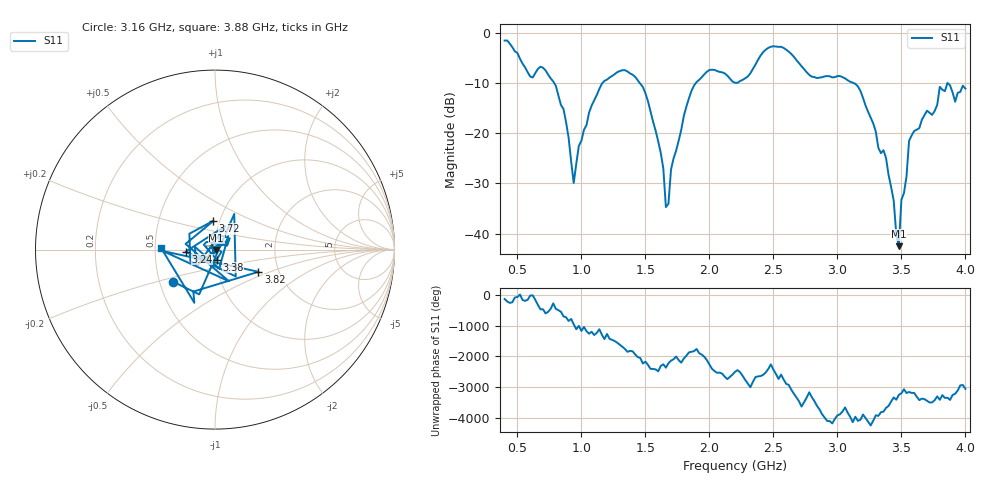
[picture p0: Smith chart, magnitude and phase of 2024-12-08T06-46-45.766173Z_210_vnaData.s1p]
!Created with skrf (http://scikit-rf.org).
# Hz S RI R 50.0
!freq ReS11 ImS11
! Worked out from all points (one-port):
!   181 points, 400 MHz to 4 GHz, reference 50 ohm
!   lowest |S11| = -42.5 dB at 3.48 GHz (marker M1), VSWR 1.02, Z = 50.7 - j0.222 ohm
!   |S11| at or under -10 dB: 787.7 MHz to 1.164 GHz (376.2 MHz wide, 38.6 % of centre); 1.457 GHz to 1.894 GHz (437.1 MHz wide, 26.1 % of centre); 3.128 GHz to 3.859 GHz (731.4 MHz wide, 20.9 % of centre) (the widest 3 of 4)
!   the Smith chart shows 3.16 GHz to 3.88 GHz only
!   S11 on the Smith chart (normalised r, x): 3.16 GHz: 0.59, -0.23; 3.24 GHz: 0.72, -0.02; 3.38 GHz: 1.01, -0.11; 3.72 GHz: 0.93, +0.30; 3.82 GHz: 1.57, -0.42; 3.88 GHz: 0.54, +0.01
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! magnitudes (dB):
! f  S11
! 400 MHz  -1.5
! 600 MHz  -8.7
! 720 MHz  -7.5
! 860 MHz  -15.1
! 940 MHz  -29.9
! 1.08 GHz  -14.5
! 1.3 GHz  -7.6
! 1.5 GHz  -12.0
! 1.62 GHz  -23.9
! 1.66 GHz  -34.7
! 1.76 GHz  -21.5
! 1.9 GHz  -9.8
! 2.2 GHz  -9.9
! 2.46 GHz  -3.0
! 2.66 GHz  -4.7
! 3.1 GHz  -9.7
! 3.16 GHz  -10.6
! 3.24 GHz  -15.7
! 3.38 GHz  -24.9
! 3.48 GHz  -42.5
! 3.5 GHz  -33.2
! 3.54 GHz  -28.6
! 3.56 GHz  -21.5
! 3.72 GHz  -15.9
! 3.82 GHz  -11.3
! 3.88 GHz  -10.4
! 3.92 GHz  -13.7
! 4 GHz  -11.1
